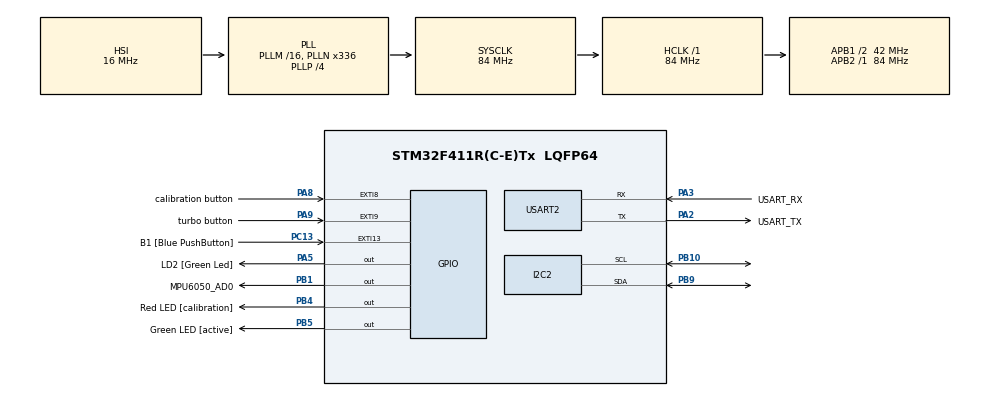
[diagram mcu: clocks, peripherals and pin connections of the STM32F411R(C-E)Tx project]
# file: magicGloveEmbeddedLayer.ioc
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I2C2.I2C_Mode=I2C_Fast
Mcu.Family=STM32F4
Mcu.Name=STM32F411R(C-E)Tx
Mcu.Package=LQFP64
NVIC.EXTI9_5_IRQn=true\:0\:0\:false\:false\:true\:true\:true
NVIC.PVD_IRQn=true\:0\:0\:false\:false\:true\:true\:true
NVIC.PriorityGroup=NVIC_PRIORITYGROUP_0
PA13.GPIO_Label=TMS
PA13.Mode=Serial_Wire
PA13.Signal=SYS_JTMS-SWDIO
PA14.GPIO_Label=TCK
PA14.Mode=Serial_Wire
PA14.Signal=SYS_JTCK-SWCLK
PA2.GPIO_Label=USART_TX
PA2.Mode=Asynchronous
PA2.Signal=USART2_TX
PA3.GPIO_Label=USART_RX
PA3.Mode=Asynchronous
PA3.Signal=USART2_RX
PA5.GPIO_Label=LD2 [Green Led]
PA5.Signal=GPIO_Output
PA8.GPIO_Label=calibration button
PA8.GPIO_PuPd=GPIO_PULLDOWN
PA8.Signal=GPXTI8
PA9.GPIO_Label=turbo button
PA9.GPIO_PuPd=GPIO_PULLDOWN
PA9.Signal=GPXTI9
PB1.GPIO_Label=MPU6050_AD0
PB1.Signal=GPIO_Output
PB10.Mode=I2C
PB10.Signal=I2C2_SCL
PB3.GPIO_Label=SWO
PB3.Signal=SYS_JTDO-SWO
PB4.GPIO_Label=Red LED [calibration]
PB4.Signal=GPIO_Output
PB5.GPIO_Label=Green LED [active]
PB5.Signal=GPIO_Output
PB9.Mode=I2C
PB9.Signal=I2C2_SDA
PC13-ANTI_TAMP.GPIO_Label=B1 [Blue PushButton]
PC13-ANTI_TAMP.GPIO_ModeDefaultEXTI=GPIO_MODE_IT_FALLING
PC13-ANTI_TAMP.Signal=GPXTI13
PC14-OSC32_IN.Mode=LSE-External-Oscillator
PC14-OSC32_IN.Signal=RCC_OSC32_IN
PC15-OSC32_OUT.Mode=LSE-External-Oscillator
PC15-OSC32_OUT.Signal=RCC_OSC32_OUT
PH0\ -\ OSC_IN.Mode=HSE-External-Clock-Source
PH0\ -\ OSC_IN.Signal=RCC_OSC_IN
PH1\ -\ OSC_OUT.Mode=HSE-External-Clock-Source
PH1\ -\ OSC_OUT.Signal=RCC_OSC_OUT
ProjectManager.HeapSize=0x200
ProjectManager.StackSize=0x400
ProjectManager.TargetToolchain=STM32CubeIDE
RCC.48MHZClocksFreq_Value=84000000
RCC.AHBFreq_Value=84000000
RCC.APB1CLKDivider=RCC_HCLK_DIV2
RCC.APB1Freq_Value=42000000
RCC.APB1TimFreq_Value=84000000
RCC.APB2Freq_Value=84000000
RCC.APB2TimFreq_Value=84000000
RCC.CortexFreq_Value=84000000
RCC.FLatency-AdvancedSettings=FLASH_LATENCY_2
RCC.HCLKFreq_Value=84000000
RCC.HSE_VALUE=8000000
RCC.HSI_VALUE=16000000
RCC.PLLN=336
RCC.PLLP=RCC_PLLP_DIV4
RCC.SYSCLKFreq_VALUE=84000000
RCC.SYSCLKSource=RCC_SYSCLKSOURCE_PLLCLK
RCC.VCOOutputFreq_Value=336000000
TIM2.AutoReloadPreload=TIM_AUTORELOAD_PRELOAD_ENABLE
TIM2.Period=1999
TIM2.Prescaler=41999
USART2.VirtualMode=VM_ASYNC
VP_TIM2_VS_ClockSourceINT.Mode=Internal
board=NUCLEO-F411RE

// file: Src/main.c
/* USER CODE BEGIN Header */
/**
  ******************************************************************************
  * @file           : main.c
  * @brief          : Main program body
  ******************************************************************************
  * @attention
  *
  * <h2><center>&copy; Copyright (c) 2019 STMicroelectronics.
  * All rights reserved.</center></h2>
  *
  * This software component is licensed by ST under BSD 3-Clause license,
  * the "License"; You may not use this file except in compliance with the
  * License. You may obtain a copy of the License at:
  *                        opensource.org/licenses/BSD-3-Clause
  *
  ******************************************************************************
  */
/* USER CODE END Header */

#include "main.h"
#include "i2c.h"
#include "tim.h"
#include "usart.h"
#include "gpio.h"

/* USER CODE BEGIN Includes */
#include "sd_hal_mpu6050.h"
#include "math.h"
/* USER CODE END Includes */

/* USER CODE BEGIN PV */
SD_MPU6050 mpu1;

typedef enum {
  // used for indicating mcu orientation
  CURRENT_ORIENT_RECOV = 0x00,
  CURRENT_ORIENT_LEFT,
  CURRENT_ORIENT_RIGHT,
  CURRENT_ORIENT_UP,
  CURRENT_ORIENT_DOWN
} current_orient;

typedef enum {
  // used for controlling mcu operation
  STATE_IDLE = 0x00,
  STATE_OPERATE,
  STATE_CALIBRATE,
  STATE_TEST
} state_t;

volatile state_t state = STATE_IDLE;
volatile uint8_t error_cnt = 0;      // used for resetting state
volatile uint8_t calibrate_cnt = 0;  // used for calibration counter

char digits[10] = "0123456789";

// read data from sensor
int16_t a_x = 0;
int16_t a_y = 0;
int16_t a_z = 0;

int16_t g_x = 0;
int16_t g_y = 0;
int16_t g_z = 0;

// calibration offset
int32_t offset_a_x = 0;
int32_t offset_a_y = 0;
int32_t offset_a_z = 0;
int32_t offset_g_x = 0;
int32_t offset_g_y = 0;
int32_t offset_g_z = 0;

// corrected value
double cor_a_x = 0;
double cor_a_y = 0;
double cor_a_z = 0;
double cor_g_x = 0;
double cor_g_y = 0;
double cor_g_z = 0;

// roll, pitch, yaw values
double roll = 0;
double pitch = 0;
double yaw = 0;

current_orient orient = 0x00;
volatile uint8_t turbo = 0; // turbo command flag

/* USER CODE END PV */

void SystemClock_Config(void);
/* USER CODE BEGIN PFP */
void acce_uart_transmit(float a_x, float a_y, float a_z, current_orient orient);
/* USER CODE END PFP */

int main(void)
{
  /* USER CODE BEGIN 1 */
  SD_MPU6050_Result result;
  uint8_t mpu_ok[16] = {"MPU WORK FINE\r\n"};
  uint8_t mpu_not[18] = {"MPU NOT WORKING\r\n"};
  /* USER CODE END 1 */

  /* MCU Configuration--------------------------------------------------------*/

  /* Reset of all peripherals, Initializes the Flash interface and the Systick. */
  HAL_Init();

  /* Configure the system clock */
  SystemClock_Config();

  /* Initialize all configured peripherals */
  MX_GPIO_Init();
  MX_USART2_UART_Init();
  MX_TIM2_Init();
  MX_I2C2_Init();
  /* USER CODE BEGIN 2 */

  // turn on mpu6050 sensor
  HAL_GPIO_WritePin(GPIOB,GPIO_PIN_1,GPIO_PIN_RESET);

  HAL_TIM_Base_Init(&htim2);

  /* USER CODE END 2 */

  /* Infinite loop */
  while (1)
  {

    /* USER CODE BEGIN 3 */
    switch (state)
    {
    case STATE_IDLE:
      result = SD_MPU6050_Init(&hi2c2,&mpu1,SD_MPU6050_Device_0,SD_MPU6050_Accelerometer_2G,SD_MPU6050_Gyroscope_500s );
      HAL_Delay(10);

      // check if MPU6050 is active
      if (result == SD_MPU6050_Result_Ok)
      {
        HAL_UART_Transmit(&huart2, mpu_ok, 16, HAL_MAX_DELAY);
        state = STATE_OPERATE;
      }
      break;

    case STATE_OPERATE:
      // read accelero values
      SD_MPU6050_ReadAccelerometer(&hi2c2, &mpu1);
      a_x = mpu1.Accelerometer_X + offset_a_x;
      a_y = mpu1.Accelerometer_Y + offset_a_y;
      a_z = mpu1.Accelerometer_Z + offset_a_z;

      // read gyro values
      SD_MPU6050_ReadGyroscope(&hi2c2, &mpu1);
      g_x = mpu1.Gyroscope_X + offset_g_x;
      g_y = mpu1.Gyroscope_Y + offset_g_y;
      g_z = mpu1.Gyroscope_Z + offset_g_z;

      // correct accelero values
      cor_a_x = (double) a_x * mpu1.Acce_Mult;
      cor_a_y = (double) a_y * mpu1.Acce_Mult;
      cor_a_z = (double) a_z * mpu1.Acce_Mult;

      // correct gyro values
      cor_g_x = (double) g_x * mpu1.Gyro_Mult;
      cor_g_y = (double) g_y * mpu1.Gyro_Mult;
      cor_g_z = (double) g_z * mpu1.Gyro_Mult;

      // roll, pitch, yaw calculation
      roll = 180 * atan(cor_g_x / sqrt(cor_g_x * cor_g_x + cor_g_z + cor_g_z)) / M_PI;
      pitch = 180 * atan(cor_g_x / sqrt(cor_g_y * cor_g_y + cor_g_z * cor_g_z)) / M_PI;
      yaw = 180 * atan (cor_g_z / sqrt(cor_g_x * cor_g_x + cor_g_z * cor_g_z)) / M_PI;

      // if (orient == CURRENT_ORIENT_RECOV)
      // {
      //   // right
      //   if (cor_a_x < -0.5)
      //   {
      //     orient = CURRENT_ORIENT_RIGHT;
      //     acce_uart_transmit(cor_a_x, cor_a_y, cor_a_z, orient);
      //   }
      //   // left
      //   else if (cor_a_x > 0.5)
      //   {
      //     orient = CURRENT_ORIENT_LEFT;
      //     acce_uart_transmit(cor_a_x, cor_a_y, cor_a_z, orient);
      //   }

      //   // up
      //   if (cor_a_y < -0.3)
      //   {
      //     orient = CURRENT_ORIENT_UP;
      //     acce_uart_transmit(cor_a_x, cor_a_y, cor_a_z, orient);
      //   }
      //   // down
      //   else if (cor_a_y > 0.3)
      //   {
      //     orient = CURRENT_ORIENT_DOWN;
      //     acce_uart_transmit(cor_a_x, cor_a_y, cor_a_z, orient);
      //   }
      //   else
      //   {
      //     acce_uart_transmit(cor_a_x, cor_a_y, cor_a_z, orient);
      //   }
      // }
      // else
      // {
      //   // orientation recovery
      //   switch (orient)
      //   {
      //   case CURRENT_ORIENT_RIGHT:
      //     if (cor_a_x > 0.1)
      //     {
      //       orient = CURRENT_ORIENT_RECOV;
      //     }
      //     break;
      //   case CURRENT_ORIENT_LEFT:
      //     if (cor_a_x < -0.1)
      //     {
      //       orient = CURRENT_ORIENT_RECOV;
      //     }
      //     break;
      //   case CURRENT_ORIENT_UP:
      //     if (cor_a_y > 0.1)
      //     {
      //       orient = CURRENT_ORIENT_RECOV;
      //     }
      //     break;
      //   case CURRENT_ORIENT_DOWN:
      //     if (cor_a_y < -0.1)
      //     {
      //       orient = CURRENT_ORIENT_RECOV;
      //     }
      //     break;
      //   default:
      //     break;
      //   }

      //   acce_uart_transmit(cor_a_x, cor_a_y, cor_a_z, orient);
      // }
      break;

    case STATE_CALIBRATE:
      // disable interrupt on LINE8. This will prevent interrupt button works
      // while performing calibration.
      EXTI->IMR = 0x2200;

      // turn calibration LED on
      HAL_GPIO_WritePin(GPIOB, GPIO_PIN_4, GPIO_PIN_SET);
      HAL_Delay(500);

      // set all offsets to zero
      offset_a_x = 0;
      offset_a_y = 0;
      offset_a_z = 0;
      offset_g_x = 0;
      offset_g_y = 0;
      offset_g_z = 0;

      for (calibrate_cnt = 0; calibrate_cnt < 10; ++calibrate_cnt)
      {
        // accumulate sampling values of Accelero and Gyro
        SD_MPU6050_ReadAccelerometer(&hi2c2, &mpu1);
        offset_a_x += mpu1.Accelerometer_X;
        offset_a_y += mpu1.Accelerometer_Y;
        offset_a_z += mpu1.Accelerometer_Z;

        SD_MPU6050_ReadGyroscope(&hi2c2, &mpu1);
        offset_g_x += mpu1.Gyroscope_X;
        offset_g_y += mpu1.Gyroscope_Y;
        offset_g_z += mpu1.Gyroscope_Z;

        HAL_GPIO_TogglePin(GPIOB, GPIO_PIN_4);
        HAL_Delay(200);
      }

      // average to obtain offset
      offset_a_x = offset_a_x / -10;
      offset_a_y = offset_a_y / -10;
      offset_a_z = offset_a_z / -10;
      offset_g_x = offset_g_x / -10;
      offset_g_y = offset_g_y / -10;
      offset_g_z = offset_g_z / -10;

      // turn off calibration LED
      HAL_GPIO_WritePin(GPIOB, GPIO_PIN_4, GPIO_PIN_RESET);

      // go back to operate
      state = STATE_OPERATE;

      // turn interrupt back on
      EXTI->IMR = 0x2300;

      break;

    case STATE_TEST:
      // for test purpose
      break;

    default:
      break;
    }

    HAL_Delay(100);
  }
  /* USER CODE END 3 */
}

void SystemClock_Config(void)
{
  RCC_OscInitTypeDef RCC_OscInitStruct = {0};
  RCC_ClkInitTypeDef RCC_ClkInitStruct = {0};

  /** Configure the main internal regulator output voltage
  */
  __HAL_RCC_PWR_CLK_ENABLE();
  __HAL_PWR_VOLTAGESCALING_CONFIG(PWR_REGULATOR_VOLTAGE_SCALE1);
  /** Initializes the CPU, AHB and APB busses clocks
  */
  RCC_OscInitStruct.OscillatorType = RCC_OSCILLATORTYPE_HSI;
  RCC_OscInitStruct.HSIState = RCC_HSI_ON;
  RCC_OscInitStruct.HSICalibrationValue = RCC_HSICALIBRATION_DEFAULT;
  RCC_OscInitStruct.PLL.PLLState = RCC_PLL_ON;
  RCC_OscInitStruct.PLL.PLLSource = RCC_PLLSOURCE_HSI;
  RCC_OscInitStruct.PLL.PLLM = 16;
  RCC_OscInitStruct.PLL.PLLN = 336;
  RCC_OscInitStruct.PLL.PLLP = RCC_PLLP_DIV4;
  RCC_OscInitStruct.PLL.PLLQ = 4;
  if (HAL_RCC_OscConfig(&RCC_OscInitStruct) != HAL_OK)
  {
    Error_Handler();
  }
  /** Initializes the CPU, AHB and APB busses clocks
  */
  RCC_ClkInitStruct.ClockType = RCC_CLOCKTYPE_HCLK|RCC_CLOCKTYPE_SYSCLK
                              |RCC_CLOCKTYPE_PCLK1|RCC_CLOCKTYPE_PCLK2;
  RCC_ClkInitStruct.SYSCLKSource = RCC_SYSCLKSOURCE_PLLCLK;
  RCC_ClkInitStruct.AHBCLKDivider = RCC_SYSCLK_DIV1;
  RCC_ClkInitStruct.APB1CLKDivider = RCC_HCLK_DIV2;
  RCC_ClkInitStruct.APB2CLKDivider = RCC_HCLK_DIV1;

  if (HAL_RCC_ClockConfig(&RCC_ClkInitStruct, FLASH_LATENCY_2) != HAL_OK)
  {
    Error_Handler();
  }
}

/* USER CODE BEGIN 4 */

///////////////////
// *--- ISR ---* //
///////////////////
void HAL_GPIO_EXTI_Callback(uint16_t GPIO_Pin)
{
  if (GPIO_Pin == GPIO_PIN_9)
  {
    turbo = 1;
  }
  else if (GPIO_Pin == GPIO_PIN_8)
  {
    state = STATE_CALIBRATE;
  }
}

//////////////////////////////////////
// *--- user defined functions ---* //
//////////////////////////////////////
void acce_uart_transmit(float a_x, float a_y, float a_z, current_orient orient)
{
  // command array
  uint8_t command[18];
  uint8_t temp_bit;
  uint8_t index = 15;

  //  turbo bug when orient is X
  if (turbo)
  // sending turbo command
  {
    turbo = 0;
    command[0] = (uint8_t) 'T'; // Turbo command

    for (index = 1; index < 16; ++index)
      command[index] = 0;

    command[16] = (uint8_t) '\r';
    command[17] = (uint8_t) '\n';

    HAL_UART_Transmit(&huart2, command, 18, HAL_MAX_DELAY);

    return 0;
  }

  // accelerometer transmit values
  int16_t a_x_transmit = 0;
  int16_t a_y_transmit = 0;
  int16_t a_z_transmit = 0;

  // cast float to uint16
  a_x_transmit = a_x * 1000;
  a_y_transmit = a_y * 1000;
  a_z_transmit = a_z * 1000;

  // *--- bits assignment ---* //

  // *- HEADER -* //
  // orientation bit
  if (orient == CURRENT_ORIENT_UP) command[0] = (uint8_t) 'U';
  else if (orient == CURRENT_ORIENT_DOWN) command[0] = (uint8_t) 'D';
  else if (orient == CURRENT_ORIENT_LEFT) command[0] = (uint8_t) 'L';
  else if (orient == CURRENT_ORIENT_RIGHT) command[0] = (uint8_t) 'R';
  else if (orient == CURRENT_ORIENT_RECOV) command[0] = (uint8_t) 'X';
  else command[0] = (uint8_t) 'X';

  // sign bytes
  // a_x
  if (a_x_transmit > 0)
  {
    command[1] = (uint8_t) 'P';
  }
  else
  {
    command[1] = (uint8_t) 'N';
    a_x_transmit = - a_x_transmit; // convert to positive
  }

  // a_y
  if (a_y_transmit > 0)
  {
    command[2] = (uint8_t) 'P';
  }
  else
  {
    command[2] = (uint8_t) 'N';
    a_y_transmit = - a_y_transmit; // convert to positive
  }

  // a_z
  if (a_z_transmit > 0)
  {
    command[3] = (uint8_t) 'P';
  }
  else
  {
    command[3] = (uint8_t) 'N';
    a_z_transmit = - a_z_transmit; // convert to positive
  }

  // *- PAYLOAD -* //

  // *-- a_z bytes --*
  while (index > 11)
  {
    temp_bit = a_z_transmit % 10;
    command[index] = digits[temp_bit];
    a_z_transmit /= 10;
    index--;
  }

  // *-- a_y bytes --*
  while (index > 7)
  {
    temp_bit = a_y_transmit % 10;
    command[index] = digits[temp_bit];
    a_y_transmit /= 10;
    index--;
  }

  // *-- a_x bytes --*
  while (index > 3)
  {
    temp_bit = a_x_transmit % 10;
    command[index] = digits[temp_bit];
    a_x_transmit /= 10;
    index--;
  }
  command[16] = (uint8_t) '\r';
  command[17] = (uint8_t) '\n';

  HAL_UART_Transmit(&huart2, command, 18, HAL_MAX_DELAY);

}
/* USER CODE END 4 */

void Error_Handler(void)
{
}

/************************ (C) COPYRIGHT STMicroelectronics *****END OF FILE****/
